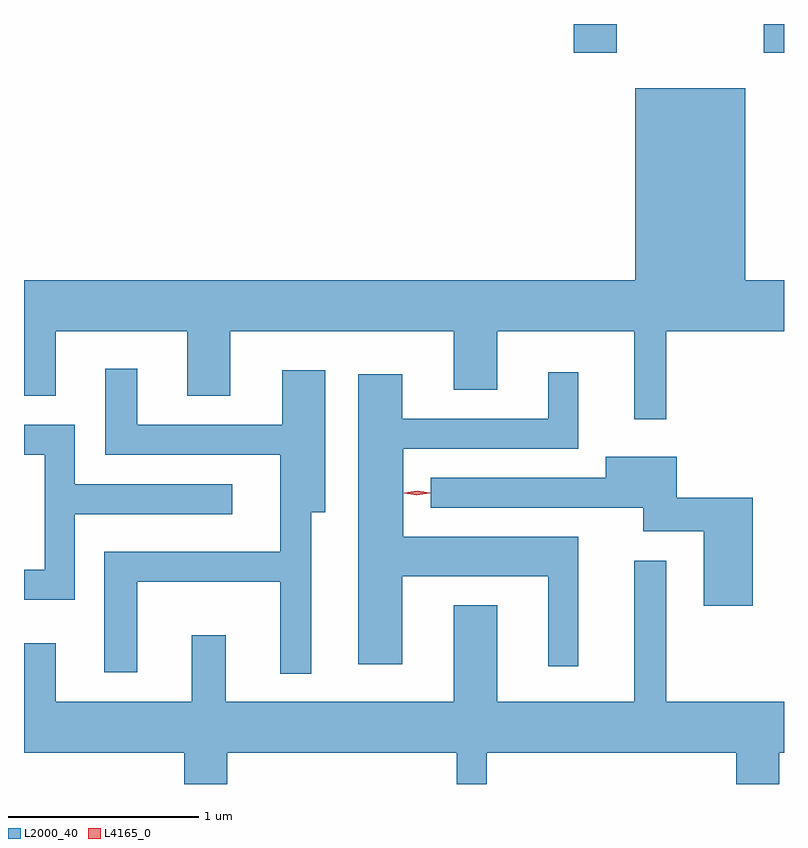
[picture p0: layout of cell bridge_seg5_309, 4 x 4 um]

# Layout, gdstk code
import gdstk
lib = gdstk.Library(unit=1e-6, precision=1e-09)
def R(c, l, rs):  # rectangles x0, y0, x1, y1
    for r in rs: c.add(gdstk.rectangle(r[:2], r[2:], *l))
def P(c, l, *ps):  # polygons
    for p in ps: c.add(gdstk.Polygon(p, *l))
L2000_40 = (2000, 40)
L4165_0 = (4165, 0)

bridge_seg5_309 = lib.new_cell('bridge_seg5_309')
R(bridge_seg5_309, L2000_40, [(670.051,1451.601,670.279,1451.752), (671.051,1451.601,671.158,1451.752)])
P(bridge_seg5_309, L2000_40, [(667.158,1449.796),(667.324,1449.796),(667.324,1450.136),(668.016,1450.136),(668.016,1449.796),(668.244,1449.796),(668.244,1450.136),(669.421,1450.136),(669.421,1449.826),(669.649,1449.826),(669.649,1450.136),(670.371,1450.136),(670.371,1449.673),(670.539,1449.673),(670.539,1450.136),(671.158,1450.136),(671.158,1450.404),(670.954,1450.404),(670.954,1451.414),(670.376,1451.414),(670.376,1450.404),(667.158,1450.404)],
  [(668.669,1449.181),(668.744,1449.181),(668.744,1449.929),(668.516,1449.929),(668.516,1449.644),(667.754,1449.644),(667.754,1449.938),(667.586,1449.938),(667.586,1449.486),(668.506,1449.486),(668.506,1448.974),(667.581,1448.974),(667.581,1448.341),(667.754,1448.341),(667.754,1448.816),(668.506,1448.816),(668.506,1448.333),(668.669,1448.333)],
  [(670.074,1449.054),(669.154,1449.054),(669.154,1449.516),(670.074,1449.516),(670.074,1449.918),(669.916,1449.918),(669.916,1449.674),(669.149,1449.674),(669.149,1449.909),(668.916,1449.909),(668.916,1448.381),(669.149,1448.381),(669.149,1448.846),(669.916,1448.846),(669.916,1448.373),(670.074,1448.373)],
  [(667.424,1449.171),(668.253,1449.171),(668.253,1449.329),(667.424,1449.329),(667.424,1449.644),(667.158,1449.644),(667.158,1449.486),(667.266,1449.486),(667.266,1448.879),(667.158,1448.879),(667.158,1448.721),(667.424,1448.721)],
  [(670.994,1449.259),(670.594,1449.259),(670.594,1449.474),(670.221,1449.474),(670.221,1449.364),(669.298,1449.364),(669.298,1449.206),(670.416,1449.206),(670.416,1449.081),(670.736,1449.081),(670.736,1448.691),(670.994,1448.691)],
  [(668.229,1447.916),(669.436,1447.916),(669.436,1447.752),(669.594,1447.752),(669.594,1447.916),(670.906,1447.916),(670.906,1447.752),(671.134,1447.752),(671.134,1447.916),(671.158,1447.916),(671.158,1448.184),(670.539,1448.184),(670.539,1448.928),(670.371,1448.928),(670.371,1448.184),(669.649,1448.184),(669.649,1448.694),(669.421,1448.694),(669.421,1448.184),(668.219,1448.184),(668.219,1448.534),(668.041,1448.534),(668.041,1448.184),(667.324,1448.184),(667.324,1448.494),(667.158,1448.494),(667.158,1447.916),(668.001,1447.916),(668.001,1447.752),(668.229,1447.752)])
P(bridge_seg5_309, L4165_0, [(669.227,1449.275),(669.158,1449.284),(669.157,1449.285),(669.158,1449.285),(669.227,1449.295),(669.296,1449.285),(669.296,1449.285),(669.296,1449.284)],
  [(669.226,1449.272),(669.16,1449.282),(669.16,1449.282),(669.16,1449.283),(669.226,1449.292),(669.292,1449.283),(669.293,1449.282),(669.292,1449.282)])

lib.write_gds('bridge_seg5_309.gds')
